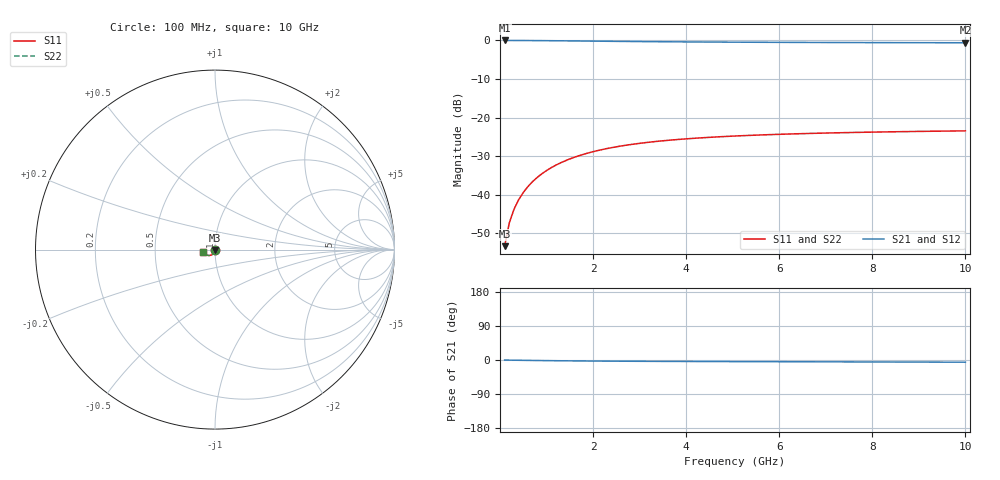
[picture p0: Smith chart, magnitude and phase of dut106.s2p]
! Touchstone file exported from HFSS 2024.1.0
!  File:  C:/UserFiles/LocalFiles/RDL_TSV_Batchsim/temp_TSV1_106_1778764940.aedt
!  Generated:  09:38:29 PM May 14, 2026
!  Design:  TSV1
!  Project:  temp_TSV1_106_1778764940
!  Setup:  Setup1
!  Solution:  Sweep
! Variables:
!  dtsv = 12.49um
!  hbump = 3um
!  htsv = 91.63um
!  lrdl = 252.1521522um
!  p = 40
!  p1 = 49.29um
!  t = 500um
!  trdl = 3um
!  wrdl = 24.89489489um
# GHz S MA R 50.000000
! Terminal data exported
! Port[1] = TSV22_T1
! Port[2] = TSV22_T2
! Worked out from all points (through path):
!   100 points, 100 MHz to 10 GHz, reference 50 ohm
!   highest |S21| = 0.00 dB at 100 MHz (marker M1); lowest = -0.6 dB at 10 GHz (marker M2)
!   lowest |S11| = -53.3 dB at 100 MHz (marker M3), VSWR 1.00, Z = 50 - j0.216 ohm
!   |S11| at or under -10 dB: start of sweep to end of sweep
!   |S22| runs from -53.3 to -23.4 dB; largest |S21 - S12| = 6.2e-15
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0.1  0.00216 -89.2  0.9998 -0.2  0.9998 -0.2  0.00216 -89.2
! Gamma 0 0 0 0
! Port Impedance 50 0 50 0
0.2  0.004315 -92.4  0.9996 -0.4  0.9996 -0.4  0.004315 -92.4
0.3  0.006462 -94.7  0.9992 -0.5  0.9992 -0.5  0.006462 -94.7
0.4  0.008592 -96.9  0.9987 -0.7  0.9987 -0.7  0.008592 -96.9
0.5  0.0107 -98.9  0.9981 -0.9  0.9981 -0.9  0.0107 -98.9
0.6  0.01277 -100.9  0.9973 -1.0  0.9973 -1.0  0.01277 -100.9
0.7  0.0148 -102.8  0.9964 -1.2  0.9964 -1.2  0.0148 -102.8
0.8  0.01678 -104.7  0.9955 -1.3  0.9955 -1.3  0.01678 -104.7
0.9  0.01872 -106.5  0.9944 -1.5  0.9944 -1.5  0.01872 -106.5
1.1  0.02243 -110.1  0.9921 -1.8  0.9921 -1.8  0.02243 -110.1
1.4  0.02755 -115.1  0.9882 -2.1  0.9882 -2.1  0.02755 -115.1
1.6  0.03067 -118.2  0.9855 -2.4  0.9855 -2.4  0.03067 -118.2
1.8  0.03354 -121.2  0.9827 -2.6  0.9827 -2.6  0.03354 -121.2
2.1  0.03742 -125.2  0.9786 -2.8  0.9786 -2.8  0.03742 -125.2
2.5  0.04186 -130.1  0.9733 -3.1  0.9733 -3.1  0.04186 -130.1
2.9  0.04559 -134.4  0.9685 -3.4  0.9685 -3.4  0.04559 -134.4
3.4  0.04942 -139.1  0.9631 -3.6  0.9631 -3.6  0.04942 -139.1
4.2  0.05412 -145.2  0.956 -3.9  0.956 -3.9  0.05412 -145.2
5.1  0.05796 -150.8  0.9498 -4.2  0.9498 -4.2  0.05796 -150.8
6.7  0.06249 -158.4  0.9421 -4.7  0.9421 -4.7  0.06249 -158.4
8.4  0.06549 -164.5  0.9368 -5.3  0.9368 -5.3  0.06549 -164.5
10  0.06737 -169.1  0.9334 -5.8  0.9334 -5.8  0.06737 -169.1
